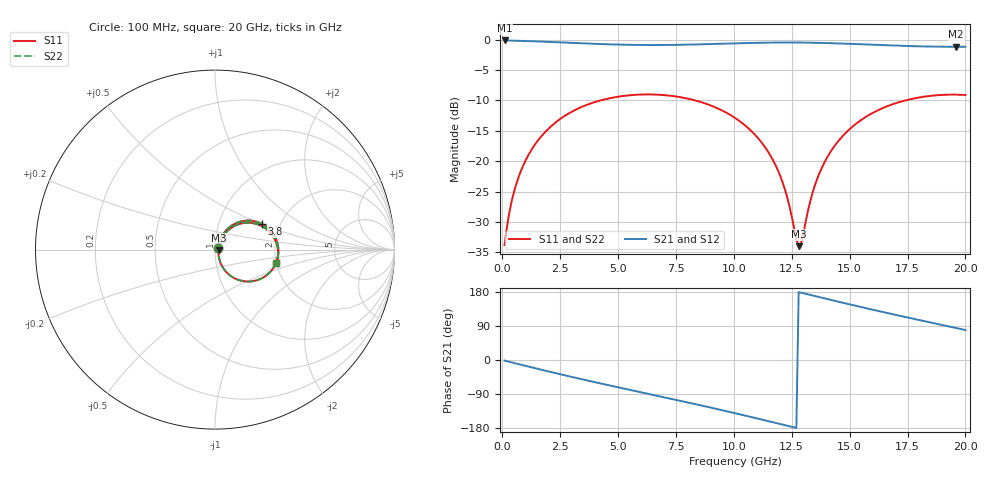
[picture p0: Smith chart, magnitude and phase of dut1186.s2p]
! Touchstone file exported from HFSS 2026.1.0
!  File:  C:/ffzhzh/LocalFiles/Ansys_Project_Files/temp_train_TSV_RDL_1186_1783316601_38704.aedt
!  Generated:  01:53:10 PM Jul  6, 2026
!  Design:  TSV_RDL
!  Project:  temp_train_TSV_RDL_1186_1783316601_38704
! Variables:
!  h_bsmrdl = 3.86um
!  h_ox = 20um
!  h_rdl = 5um
!  h_sub = 69.97um
!  h_tmrdl = 5.99um
!  h_tsv = 69.97um
!  h_via = 3um
!  l_bsmrdl = 956.67um
!  l_sub = 4911.13um
!  l_tmrdl = 374.1um
!  m_sub = 200um
!  pitch = 38.74um
!  r_tsv = 8.06um
!  s_tmrdl = 10um
!  w_bsmrdl = 23.38um
!  w_sub = 500um
!  w_tmrdl = 24.86um
!  x_tsv_center1 = 386.53um
!  x_tsv_center2 = 1366.58um
!  x_tsv_center3 = 1765.54um
!  x_tsv_center4 = 2745.59um
!  x_tsv_center5 = 3144.55um
!  x_tsv_center6 = 4124.6um
# GHz S MA R 50.000000
! Terminal data exported
! Port[1] = TM_RDL1_1_T1
! Port[2] = TM_RDL5_1_T1
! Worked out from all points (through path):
!   200 points, 100 MHz to 20 GHz, reference 50 ohm
!   highest |S21| = -0.15 dB at 100 MHz (marker M1); lowest = -1.2 dB at 19.6 GHz (marker M2)
!   group delay of S21, straight-line fit = 39 ps
!   lowest |S11| = -34.0 dB at 12.8 GHz (marker M3), VSWR 1.04, Z = 52 - j0.372 ohm
!   |S11| at or under -10 dB: start of sweep to 4.253 GHz; 8.321 GHz to 17.42 GHz (9.097 GHz wide, 70.7 % of centre)
!   |S22| runs from -34.1 to -9.0 dB; largest |S21 - S12| = 3.8e-14
!   S11 on the Smith chart (normalised r, x): 100 MHz: 1.03, +0.02; 3.8 GHz: 1.60, +0.51; 20 GHz: 2.00, -0.34
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0.1  0.02042 33.5  0.9832 -1.6  0.9832 -1.6  0.02042 33.5
! Gamma 0 0 0 0
! Port Impedance 50 0 50 0
0.3  0.03748 54.6  0.9804 -4.8  0.9804 -4.8  0.03748 54.6
0.5  0.05534 60.6  0.9783 -7.8  0.9783 -7.8  0.05534 60.6
1.2  0.1186 60.5  0.9702 -18.4  0.9702 -18.4  0.1186 60.5
2.2  0.2006 49.5  0.9539 -33.2  0.9539 -33.2  0.2006 49.5
3.5  0.2829 32.8  0.9302 -51.7  0.9302 -51.7  0.2829 32.8
3.8  0.2975 29.0  0.9252 -55.8  0.9252 -55.8  0.2975 29.0
5.3  0.3451 9.8  0.9066 -76.0  0.9066 -76.0  0.3451 9.8
6.8  0.3514 -9.0  0.902 -95.9  0.902 -95.9  0.3514 -9.0
8.5  0.3094 -30.4  0.9129 -118.7  0.9129 -118.7  0.3094 -30.4
10.1  0.2235 -50.5  0.9312 -141.1  0.9312 -141.1  0.2235 -50.6
11.1  0.1502 -62.0  0.9411 -155.6  0.9411 -155.6  0.1502 -62.1
11.8  0.09274 -67.2  0.9452 -165.9  0.9452 -165.9  0.0927 -67.3
12.3  0.05085 -63.8  0.9462 -173.4  0.9462 -173.4  0.05077 -64.0
12.8  0.01999 -10.3  0.9453 179.2  0.9453 179.2  0.0198 -10.3
12.9  0.02099 13.3  0.9449 177.7  0.9449 177.7  0.02081 13.5
13.4  0.05491 56.2  0.9419 170.2  0.9419 170.2  0.05486 56.3
13.9  0.09659 58.4  0.9373 162.8  0.9373 162.8  0.09657 58.5
14.6  0.1531 52.9  0.9285 152.6  0.9285 152.6  0.1531 53.0
16.7  0.2865 28.0  0.8957 123.0  0.8957 123.0  0.2866 28.0
19.6  0.3524 -7.6  0.8723 84.4  0.8723 84.4  0.3524 -7.6
20  0.35 -12.4  0.8728 79.1  0.8728 79.1  0.3501 -12.4
